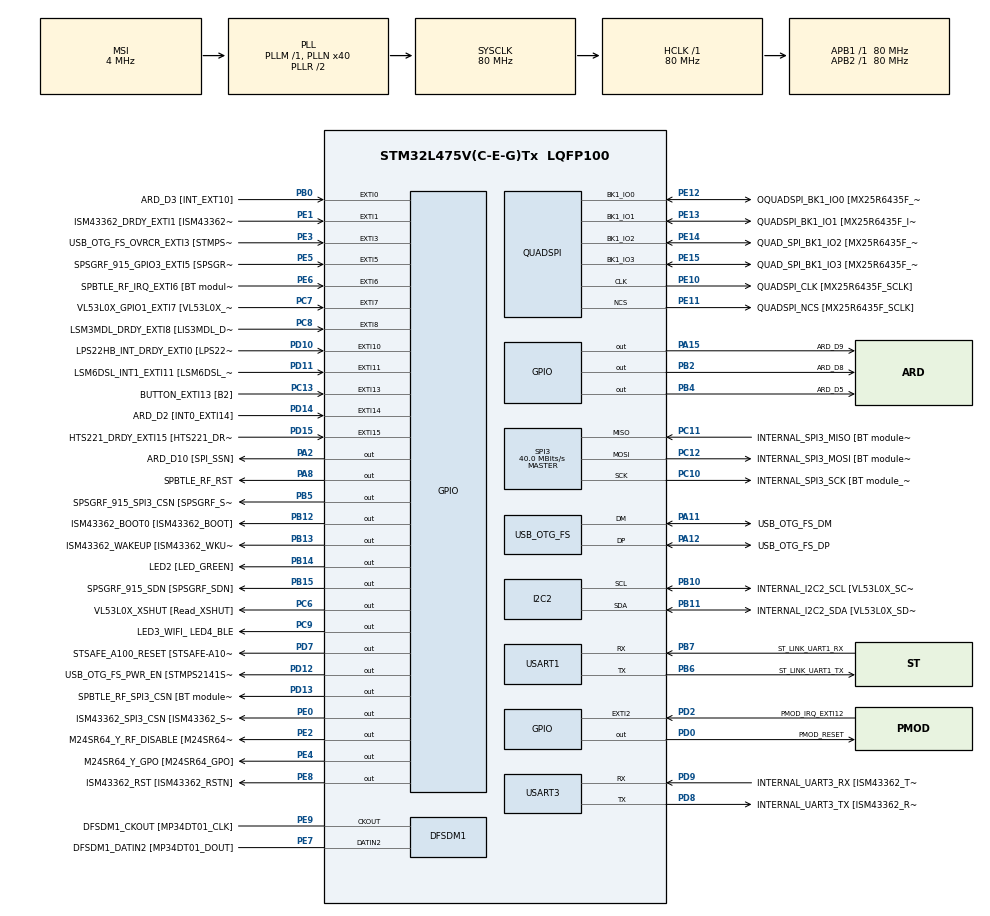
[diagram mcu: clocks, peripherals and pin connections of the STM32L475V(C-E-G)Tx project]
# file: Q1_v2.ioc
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I2C2.Timing=0x10909CEC
Mcu.Family=STM32L4
Mcu.Name=STM32L475V(C-E-G)Tx
Mcu.Package=LQFP100
NVIC.EXTI15_10_IRQn=true\:0\:0\:false\:false\:true\:true\:true
NVIC.EXTI9_5_IRQn=true\:0\:0\:false\:false\:true\:true\:true
NVIC.PriorityGroup=NVIC_PRIORITYGROUP_4
PA0.GPIO_Label=ARD_D1 [UART4_TX]
PA0.Signal=UART4_TX
PA1.GPIO_Label=ARD_D0 [UART4_RX]
PA1.Signal=UART4_RX
PA10.GPIO_Label=USB_OTG_FS_ID
PA10.Signal=USB_OTG_FS_ID
PA11.GPIO_Label=USB_OTG_FS_DM
PA11.Mode=Device_Only
PA11.Signal=USB_OTG_FS_DM
PA12.GPIO_Label=USB_OTG_FS_DP
PA12.Mode=Device_Only
PA12.Signal=USB_OTG_FS_DP
PA13\ (JTMS-SWDIO).GPIO_Label=SYS_JTMS_SWDIO
PA13\ (JTMS-SWDIO).Mode=Serial_Wire
PA13\ (JTMS-SWDIO).Signal=SYS_JTMS-SWDIO
PA14\ (JTCK-SWCLK).GPIO_Label=SYS_JTCK_SWCLK
PA14\ (JTCK-SWCLK).Mode=Serial_Wire
PA14\ (JTCK-SWCLK).Signal=SYS_JTCK-SWCLK
PA15\ (JTDI).GPIO_Label=ARD_D9
PA15\ (JTDI).Signal=GPIO_Output
PA2.GPIO_Label=ARD_D10 [SPI_SSN]
PA2.Signal=GPIO_Output
PA3.GPIO_Label=ARD_D4
PA3.Signal=S_TIM2_CH4
PA4.GPIO_Label=ARD_D7
PA4.Signal=ADCx_IN9
PA5.GPIO_Label=ARD_D13 [SPI1_SCK]
PA5.Signal=SPI1_SCK
PA6.GPIO_Label=ARD_D12 [SPI1_MISO]
PA6.Signal=SPI1_MISO
PA7.GPIO_Label=ARD_D11 [SPI1_MOSI]
PA7.Signal=SPI1_MOSI
PA8.GPIO_Label=SPBTLE_RF_RST
PA8.Signal=GPIO_Output
PA9.GPIO_Label=USB_OTG_FS_VBUS [STMPS2141STR_OUT]
PA9.Signal=USB_OTG_FS_VBUS
PB0.GPIO_Label=ARD_D3 [INT_EXT10]
PB0.Signal=GPXTI0
PB1.GPIO_Label=ARD_D6 [ADC1_IN6]
PB1.Signal=ADCx_IN16
PB10.GPIO_Label=INTERNAL_I2C2_SCL [VL53L0X_SCL]
PB10.Mode=I2C
PB10.Signal=I2C2_SCL
PB11.GPIO_Label=INTERNAL_I2C2_SDA [VL53L0X_SDA]
PB11.Mode=I2C
PB11.Signal=I2C2_SDA
PB12.GPIO_Label=ISM43362_BOOT0 [ISM43362_BOOT]
PB12.Signal=GPIO_Output
PB13.GPIO_Label=ISM43362_WAKEUP [ISM43362_WKUP]
PB13.Signal=GPIO_Output
PB14.GPIO_Label=LED2 [LED_GREEN]
PB14.Signal=GPIO_Output
PB15.GPIO_Label=SPSGRF_915_SDN [SPSGRF_SDN]
PB15.Signal=GPIO_Output
PB2.GPIO_Label=ARD_D8
PB2.Signal=GPIO_Output
PB3\ (JTDO-TRACESWO).GPIO_Label=SYS_JTD0_SWO
PB3\ (JTDO-TRACESWO).Signal=SYS_JTDO-SWO
PB4\ (NJTRST).GPIO_Label=ARD_D5
PB4\ (NJTRST).Signal=GPIO_Output
PB5.GPIO_Label=SPSGRF_915_SPI3_CSN [SPSGRF_SPI_CS]
PB5.PinState=GPIO_PIN_SET
PB5.Signal=GPIO_Output
PB6.GPIO_Label=ST_LINK_UART1_TX
PB6.Mode=Asynchronous
PB6.Signal=USART1_TX
PB7.GPIO_Label=ST_LINK_UART1_RX
PB7.Mode=Asynchronous
PB7.Signal=USART1_RX
PB8.GPIO_Label=ARD_D15 [I2C1_SCL]
PB8.Signal=I2C1_SCL
PB9.GPIO_Label=ARD_D14 [I2C1_SDA]
PB9.Signal=I2C1_SDA
PC0.GPIO_Label=ARD_A5 [ADC]
PC0.Signal=ADCx_IN1
PC1.GPIO_Label=ARD_A4 [ADC]
PC1.Signal=ADCx_IN2
PC10.GPIO_Label=INTERNAL_SPI3_SCK [BT module_SPI_SCLK] [ISM43362_SCK]
PC10.Mode=Full_Duplex_Master
PC10.Signal=SPI3_SCK
PC11.GPIO_Label=INTERNAL_SPI3_MISO [BT module_SPI_MISO] [ISM43362_MISO]
PC11.Mode=Full_Duplex_Master
PC11.Signal=SPI3_MISO
PC12.GPIO_Label=INTERNAL_SPI3_MOSI [BT module_SPI_MOSI] [ISM43362_MOSI]
PC12.Mode=Full_Duplex_Master
PC12.Signal=SPI3_MOSI
PC13.GPIO_Label=BUTTON_EXTI13 [B2]
PC13.GPIO_ModeDefaultEXTI=GPIO_MODE_IT_FALLING
PC13.Signal=GPXTI13
PC14-OSC32_IN\ (PC14).Mode=LSE-External-Oscillator
PC14-OSC32_IN\ (PC14).Signal=RCC_OSC32_IN
PC15-OSC32_OUT\ (PC15).Mode=LSE-External-Oscillator
PC15-OSC32_OUT\ (PC15).Signal=RCC_OSC32_OUT
PC2.GPIO_Label=ARD_A3 [ADC]
PC2.Signal=ADCx_IN3
PC3.GPIO_Label=ARD_A2 [ADC]
PC3.Signal=ADCx_IN4
PC4.GPIO_Label=ARD_A1 [ADC]
PC4.Signal=ADCx_IN13
PC5.GPIO_Label=ARD_A0 [ADC]
PC5.Signal=ADCx_IN14
PC6.GPIO_Label=VL53L0X_XSHUT [Read_XSHUT]
PC6.Signal=GPIO_Output
PC7.GPIO_Label=VL53L0X_GPIO1_EXTI7 [VL53L0X_GPIO1]
PC7.Signal=GPXTI7
PC8.GPIO_Label=LSM3MDL_DRDY_EXTI8 [LIS3MDL_DRDY]
PC8.Signal=GPXTI8
PC9.GPIO_Label=LED3_WIFI_ LED4_BLE
PC9.Signal=GPIO_Output
PD0.GPIO_Label=PMOD_RESET
PD0.Signal=GPIO_Output
PD1.GPIO_Label=PMOD_SPI2_SCK
PD1.Signal=SPI2_SCK
PD10.GPIO_Label=LPS22HB_INT_DRDY_EXTI0 [LPS22HB_INT_DRDY] 
PD10.Signal=GPXTI10
PD11.GPIO_Label=LSM6DSL_INT1_EXTI11 [LSM6DSL_INT1]
PD11.Signal=GPXTI11
PD12.GPIO_Label=USB_OTG_FS_PWR_EN [STMPS2141STR_EN]
PD12.Signal=GPIO_Output
PD13.GPIO_Label=SPBTLE_RF_SPI3_CSN [BT module_SPI_CS]
PD13.PinState=GPIO_PIN_SET
PD13.Signal=GPIO_Output
PD14.GPIO_Label=ARD_D2 [INT0_EXTI14]
PD14.Signal=GPXTI14
PD15.GPIO_Label=HTS221_DRDY_EXTI15 [HTS221_DRDY]
PD15.Signal=GPXTI15
PD2.GPIO_Label=PMOD_IRQ_EXTI12
PD2.Signal=GPXTI2
PD3.GPIO_Label=PMOD_UART2_CTS
PD3.Signal=USART2_CTS
PD4.GPIO_Label=PMOD_UART2_RTS
PD4.Signal=USART2_RTS
PD5.GPIO_Label=PMOD_UART2_TX
PD5.Signal=USART2_TX
PD6.GPIO_Label=PMOD_UART2_RX
PD6.Signal=USART2_RX
PD7.GPIO_Label=STSAFE_A100_RESET [STSAFE-A100_RESET]
PD7.Signal=GPIO_Output
PD8.GPIO_Label=INTERNAL_UART3_TX [ISM43362_RX]
PD8.Mode=Asynchronous
PD8.Signal=USART3_TX
PD9.GPIO_Label=INTERNAL_UART3_RX [ISM43362_TX]
PD9.Mode=Asynchronous
PD9.Signal=USART3_RX
PE0.GPIO_Label=ISM43362_SPI3_CSN [ISM43362_SSN]
PE0.PinState=GPIO_PIN_SET
PE0.Signal=GPIO_Output
PE1.GPIO_Label=ISM43362_DRDY_EXTI1 [ISM43362_DATARDY]
PE1.Signal=GPXTI1
PE10.GPIO_Label=QUADSPI_CLK [MX25R6435F_SCLK]
PE10.Mode=Single Bank
PE10.Signal=QUADSPI_CLK
PE11.GPIO_Label=QUADSPI_NCS [MX25R6435F_SCLK]
PE11.Mode=Single Bank
PE11.Signal=QUADSPI_NCS
PE12.GPIO_Label=OQUADSPI_BK1_IO0 [MX25R6435F_IO0]
PE12.Mode=Single Bank
PE12.Signal=QUADSPI_BK1_IO0
PE13.GPIO_Label=QUADSPI_BK1_IO1 [MX25R6435F_IO1]
PE13.Mode=Single Bank
PE13.Signal=QUADSPI_BK1_IO1
PE14.GPIO_Label=QUAD_SPI_BK1_IO2 [MX25R6435F_IO2]
PE14.Mode=Single Bank
PE14.Signal=QUADSPI_BK1_IO2
PE15.GPIO_Label=QUAD_SPI_BK1_IO3 [MX25R6435F_IO3]
PE15.Mode=Single Bank
PE15.Signal=QUADSPI_BK1_IO3
PE2.GPIO_Label=M24SR64_Y_RF_DISABLE [M24SR64_RFDIS]
PE2.Signal=GPIO_Output
PE3.GPIO_Label=USB_OTG_FS_OVRCR_EXTI3 [STMPS2141STR_FAULT]
PE3.Signal=GPXTI3
PE4.GPIO_Label=M24SR64_Y_GPO [M24SR64_GPO]
PE4.Signal=GPIO_Output
PE5.GPIO_Label=SPSGRF_915_GPIO3_EXTI5 [SPSGRF_GPIO_3]
PE5.Signal=GPXTI5
PE6.GPIO_Label=SPBTLE_RF_IRQ_EXTI6 [BT module_SPI_IRQ]
PE6.Signal=GPXTI6
PE7.GPIO_Label=DFSDM1_DATIN2 [MP34DT01_DOUT]
PE7.Signal=S_DATAIN2DFSDM1
PE8.GPIO_Label=ISM43362_RST [ISM43362_RSTN]
PE8.Signal=GPIO_Output
PE9.GPIO_Label=DFSDM1_CKOUT [MP34DT01_CLK]
PE9.Signal=S_CKOUTDFSDM1
ProjectManager.HeapSize=0x200
ProjectManager.StackSize=0x400
ProjectManager.TargetToolchain=STM32CubeIDE
RCC.ADCFreq_Value=48000000
RCC.AHBFreq_Value=80000000
RCC.APB1Freq_Value=80000000
RCC.APB1TimFreq_Value=80000000
RCC.APB2Freq_Value=80000000
RCC.APB2TimFreq_Value=80000000
RCC.CortexFreq_Value=80000000
RCC.HCLKFreq_Value=80000000
RCC.HSE_VALUE=8000000
RCC.HSI_VALUE=16000000
RCC.MSI_VALUE=4000000
RCC.PLLN=40
RCC.PLLSAI1N=24
RCC.SYSCLKFreq_VALUE=80000000
RCC.SYSCLKSource=RCC_SYSCLKSOURCE_PLLCLK
RCC.USBFreq_Value=48000000
RCC.VCOOutputFreq_Value=160000000
SH.ADCx_IN1.0=ADC1_IN1
SH.ADCx_IN13.0=ADC1_IN13
SH.ADCx_IN14.0=ADC1_IN14
SH.ADCx_IN16.0=ADC1_IN16
SH.ADCx_IN2.0=ADC1_IN2
SH.ADCx_IN3.0=ADC1_IN3
SH.ADCx_IN4.0=ADC1_IN4
SH.ADCx_IN9.0=ADC1_IN9
SH.S_CKOUTDFSDM1.0=DFSDM1_CKOUT,CKOUT
SH.S_CKOUTDFSDM1.1=DFSDM1_CKOUT,PDM_SPI_Input_from_ch12_and_Internal_Clock
SH.S_DATAIN2DFSDM1.0=DFSDM1_DATIN2,PDM_SPI_Input_from_ch12_and_Internal_Clock
SH.S_TIM2_CH4.0=TIM2_CH4
SPI3.CalculateBaudRate=40.0 MBits/s
SPI3.Direction=SPI_DIRECTION_2LINES
SPI3.Mode=SPI_MODE_MASTER
SPI3.VirtualType=VM_MASTER
USART1.VirtualMode-Asynchronous=VM_ASYNC
USART3.VirtualMode-Asynchronous=VM_ASYNC
USB_OTG_FS.VirtualMode=Device_Only
board=B-L475E-IOT01A1

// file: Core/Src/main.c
/* USER CODE BEGIN Header */
/**
 *********************************************************************************
 *	Author: Jonathan Dean
 *	Project: Quiz 1 - ToF Sensor
 *
 *	Objective: Read the ToF sensor and display it through UART1.
 *
 *********************************************************************************
	******************************************************************************
	* @file					 	: main.c
	* @brief					: Main program body
	******************************************************************************
	* @attention
	*
	* <h2><center>&copy; Copyright (c) 2020 STMicroelectronics.
	* All rights reserved.</center></h2>
	*
	* This software component is licensed by ST under BSD 3-Clause license,
	* the "License"; You may not use this file except in compliance with the
	* License. You may obtain a copy of the License at:
	*												opensource.org/licenses/BSD-3-Clause
	*
	******************************************************************************
	*/
/* USER CODE END Header */
#include "main.h"

/* USER CODE BEGIN Includes */
#include "vl53l0x_api.h"
#include "vl53l0x_platform.h"
#include "TOF.h"
#include "Time.h"
/* USER CODE END Includes */

DFSDM_Channel_HandleTypeDef hdfsdm1_channel1;

I2C_HandleTypeDef hi2c2;

QSPI_HandleTypeDef hqspi;

SPI_HandleTypeDef hspi3;

UART_HandleTypeDef huart1;
UART_HandleTypeDef huart3;

PCD_HandleTypeDef hpcd_USB_OTG_FS;

void SystemClock_Config(void);
static void MX_GPIO_Init(void);
static void MX_DFSDM1_Init(void);
static void MX_I2C2_Init(void);
static void MX_QUADSPI_Init(void);
static void MX_SPI3_Init(void);
static void MX_USART1_UART_Init(void);
static void MX_USART3_UART_Init(void);
static void MX_USB_OTG_FS_PCD_Init(void);

int main(void)
{

	/* MCU Configuration--------------------------------------------------------*/

	/* Reset of all peripherals, Initializes the Flash interface and the Systick. */
	HAL_Init();

	/* Configure the system clock */
	SystemClock_Config();

	/* Initialize all configured peripherals */
	MX_GPIO_Init();
	MX_DFSDM1_Init();
	MX_I2C2_Init();
	MX_QUADSPI_Init();
	MX_SPI3_Init();
	MX_USART1_UART_Init();
	MX_USART3_UART_Init();
	MX_USB_OTG_FS_PCD_Init();

	/* Infinite loop */
	/* USER CODE BEGIN WHILE */

	VL53L0X_Dev_t tof_device = // Initialize tof structure with I2C Handle and Device Location
	{
		.I2cHandle = &hi2c2,
		.I2cDevAddr = 0x52
	};

	TOF_Init(tof_device); // initialize the TOF

	Tick tof_timer = GetTime_ms(); // initialize loop timer

	while(1)
	{
		if (GetTimeSince_ms(tof_timer)>MS(1000))
		{
			char buff[2048]; // initialize buffer/size counter for uart
			uint16_t buff_sz = 0;
			uint16_t distance = TOF_GetReading(); // get TOF datapoint
			buff_sz += sprintf(buff, "Val: %d mm\n", distance); // write data to a string
			HAL_UART_Transmit(&huart1, (uint8_t*)buff, buff_sz, 1000); // print data
			tof_timer = GetTime_ms(); // reset loop timer
		}
		/* USER CODE END WHILE */

	}
}

void SystemClock_Config(void)
{
	RCC_OscInitTypeDef RCC_OscInitStruct = {0};
	RCC_ClkInitTypeDef RCC_ClkInitStruct = {0};
	RCC_PeriphCLKInitTypeDef PeriphClkInit = {0};

	/** Configure LSE Drive Capability
	*/
	HAL_PWR_EnableBkUpAccess();
	__HAL_RCC_LSEDRIVE_CONFIG(RCC_LSEDRIVE_LOW);
	/** Initializes the RCC Oscillators according to the specified parameters
	* in the RCC_OscInitTypeDef structure.
	*/
	RCC_OscInitStruct.OscillatorType = RCC_OSCILLATORTYPE_LSE|RCC_OSCILLATORTYPE_MSI;
	RCC_OscInitStruct.LSEState = RCC_LSE_ON;
	RCC_OscInitStruct.MSIState = RCC_MSI_ON;
	RCC_OscInitStruct.MSICalibrationValue = 0;
	RCC_OscInitStruct.MSIClockRange = RCC_MSIRANGE_6;
	RCC_OscInitStruct.PLL.PLLState = RCC_PLL_ON;
	RCC_OscInitStruct.PLL.PLLSource = RCC_PLLSOURCE_MSI;
	RCC_OscInitStruct.PLL.PLLM = 1;
	RCC_OscInitStruct.PLL.PLLN = 40;
	RCC_OscInitStruct.PLL.PLLP = RCC_PLLP_DIV7;
	RCC_OscInitStruct.PLL.PLLQ = RCC_PLLQ_DIV2;
	RCC_OscInitStruct.PLL.PLLR = RCC_PLLR_DIV2;
	if (HAL_RCC_OscConfig(&RCC_OscInitStruct) != HAL_OK)
	{
		Error_Handler();
	}
	/** Initializes the CPU, AHB and APB buses clocks
	*/
	RCC_ClkInitStruct.ClockType = RCC_CLOCKTYPE_HCLK|RCC_CLOCKTYPE_SYSCLK
															|RCC_CLOCKTYPE_PCLK1|RCC_CLOCKTYPE_PCLK2;
	RCC_ClkInitStruct.SYSCLKSource = RCC_SYSCLKSOURCE_PLLCLK;
	RCC_ClkInitStruct.AHBCLKDivider = RCC_SYSCLK_DIV1;
	RCC_ClkInitStruct.APB1CLKDivider = RCC_HCLK_DIV1;
	RCC_ClkInitStruct.APB2CLKDivider = RCC_HCLK_DIV1;

	if (HAL_RCC_ClockConfig(&RCC_ClkInitStruct, FLASH_LATENCY_4) != HAL_OK)
	{
		Error_Handler();
	}
	PeriphClkInit.PeriphClockSelection = RCC_PERIPHCLK_USART1|RCC_PERIPHCLK_USART3
															|RCC_PERIPHCLK_I2C2|RCC_PERIPHCLK_DFSDM1
															|RCC_PERIPHCLK_USB;
	PeriphClkInit.Usart1ClockSelection = RCC_USART1CLKSOURCE_PCLK2;
	PeriphClkInit.Usart3ClockSelection = RCC_USART3CLKSOURCE_PCLK1;
	PeriphClkInit.I2c2ClockSelection = RCC_I2C2CLKSOURCE_PCLK1;
	PeriphClkInit.Dfsdm1ClockSelection = RCC_DFSDM1CLKSOURCE_PCLK;
	PeriphClkInit.UsbClockSelection = RCC_USBCLKSOURCE_PLLSAI1;
	PeriphClkInit.PLLSAI1.PLLSAI1Source = RCC_PLLSOURCE_MSI;
	PeriphClkInit.PLLSAI1.PLLSAI1M = 1;
	PeriphClkInit.PLLSAI1.PLLSAI1N = 24;
	PeriphClkInit.PLLSAI1.PLLSAI1P = RCC_PLLP_DIV7;
	PeriphClkInit.PLLSAI1.PLLSAI1Q = RCC_PLLQ_DIV2;
	PeriphClkInit.PLLSAI1.PLLSAI1R = RCC_PLLR_DIV2;
	PeriphClkInit.PLLSAI1.PLLSAI1ClockOut = RCC_PLLSAI1_48M2CLK;
	if (HAL_RCCEx_PeriphCLKConfig(&PeriphClkInit) != HAL_OK)
	{
		Error_Handler();
	}
	/** Configure the main internal regulator output voltage
	*/
	if (HAL_PWREx_ControlVoltageScaling(PWR_REGULATOR_VOLTAGE_SCALE1) != HAL_OK)
	{
		Error_Handler();
	}
	/** Enable MSI Auto calibration
	*/
	HAL_RCCEx_EnableMSIPLLMode();
}

static void MX_DFSDM1_Init(void)
{

	hdfsdm1_channel1.Instance = DFSDM1_Channel1;
	hdfsdm1_channel1.Init.OutputClock.Activation = ENABLE;
	hdfsdm1_channel1.Init.OutputClock.Selection = DFSDM_CHANNEL_OUTPUT_CLOCK_SYSTEM;
	hdfsdm1_channel1.Init.OutputClock.Divider = 2;
	hdfsdm1_channel1.Init.Input.Multiplexer = DFSDM_CHANNEL_EXTERNAL_INPUTS;
	hdfsdm1_channel1.Init.Input.DataPacking = DFSDM_CHANNEL_STANDARD_MODE;
	hdfsdm1_channel1.Init.Input.Pins = DFSDM_CHANNEL_FOLLOWING_CHANNEL_PINS;
	hdfsdm1_channel1.Init.SerialInterface.Type = DFSDM_CHANNEL_SPI_RISING;
	hdfsdm1_channel1.Init.SerialInterface.SpiClock = DFSDM_CHANNEL_SPI_CLOCK_INTERNAL;
	hdfsdm1_channel1.Init.Awd.FilterOrder = DFSDM_CHANNEL_FASTSINC_ORDER;
	hdfsdm1_channel1.Init.Awd.Oversampling = 1;
	hdfsdm1_channel1.Init.Offset = 0;
	hdfsdm1_channel1.Init.RightBitShift = 0x00;
	if (HAL_DFSDM_ChannelInit(&hdfsdm1_channel1) != HAL_OK)
	{
		Error_Handler();
	}

}

static void MX_I2C2_Init(void)
{

	hi2c2.Instance = I2C2;
	hi2c2.Init.Timing = 0x10909CEC;
	hi2c2.Init.OwnAddress1 = 0;
	hi2c2.Init.AddressingMode = I2C_ADDRESSINGMODE_7BIT;
	hi2c2.Init.DualAddressMode = I2C_DUALADDRESS_DISABLE;
	hi2c2.Init.OwnAddress2 = 0;
	hi2c2.Init.OwnAddress2Masks = I2C_OA2_NOMASK;
	hi2c2.Init.GeneralCallMode = I2C_GENERALCALL_DISABLE;
	hi2c2.Init.NoStretchMode = I2C_NOSTRETCH_DISABLE;
	if (HAL_I2C_Init(&hi2c2) != HAL_OK)
	{
		Error_Handler();
	}
	/** Configure Analogue filter
	*/
	if (HAL_I2CEx_ConfigAnalogFilter(&hi2c2, I2C_ANALOGFILTER_ENABLE) != HAL_OK)
	{
		Error_Handler();
	}
	/** Configure Digital filter
	*/
	if (HAL_I2CEx_ConfigDigitalFilter(&hi2c2, 0) != HAL_OK)
	{
		Error_Handler();
	}

}

static void MX_QUADSPI_Init(void)
{

	/* QUADSPI parameter configuration*/
	hqspi.Instance = QUADSPI;
	hqspi.Init.ClockPrescaler = 255;
	hqspi.Init.FifoThreshold = 1;
	hqspi.Init.SampleShifting = QSPI_SAMPLE_SHIFTING_NONE;
	hqspi.Init.FlashSize = 1;
	hqspi.Init.ChipSelectHighTime = QSPI_CS_HIGH_TIME_1_CYCLE;
	hqspi.Init.ClockMode = QSPI_CLOCK_MODE_0;
	if (HAL_QSPI_Init(&hqspi) != HAL_OK)
	{
		Error_Handler();
	}

}

static void MX_SPI3_Init(void)
{

	/* SPI3 parameter configuration*/
	hspi3.Instance = SPI3;
	hspi3.Init.Mode = SPI_MODE_MASTER;
	hspi3.Init.Direction = SPI_DIRECTION_2LINES;
	hspi3.Init.DataSize = SPI_DATASIZE_4BIT;
	hspi3.Init.CLKPolarity = SPI_POLARITY_LOW;
	hspi3.Init.CLKPhase = SPI_PHASE_1EDGE;
	hspi3.Init.NSS = SPI_NSS_SOFT;
	hspi3.Init.BaudRatePrescaler = SPI_BAUDRATEPRESCALER_2;
	hspi3.Init.FirstBit = SPI_FIRSTBIT_MSB;
	hspi3.Init.TIMode = SPI_TIMODE_DISABLE;
	hspi3.Init.CRCCalculation = SPI_CRCCALCULATION_DISABLE;
	hspi3.Init.CRCPolynomial = 7;
	hspi3.Init.CRCLength = SPI_CRC_LENGTH_DATASIZE;
	hspi3.Init.NSSPMode = SPI_NSS_PULSE_ENABLE;
	if (HAL_SPI_Init(&hspi3) != HAL_OK)
	{
		Error_Handler();
	}

}

static void MX_USART1_UART_Init(void)
{

	huart1.Instance = USART1;
	huart1.Init.BaudRate = 115200;
	huart1.Init.WordLength = UART_WORDLENGTH_8B;
	huart1.Init.StopBits = UART_STOPBITS_1;
	huart1.Init.Parity = UART_PARITY_NONE;
	huart1.Init.Mode = UART_MODE_TX_RX;
	huart1.Init.HwFlowCtl = UART_HWCONTROL_NONE;
	huart1.Init.OverSampling = UART_OVERSAMPLING_16;
	huart1.Init.OneBitSampling = UART_ONE_BIT_SAMPLE_DISABLE;
	huart1.AdvancedInit.AdvFeatureInit = UART_ADVFEATURE_NO_INIT;
	if (HAL_UART_Init(&huart1) != HAL_OK)
	{
		Error_Handler();
	}

}

static void MX_USART3_UART_Init(void)
{

	huart3.Instance = USART3;
	huart3.Init.BaudRate = 115200;
	huart3.Init.WordLength = UART_WORDLENGTH_8B;
	huart3.Init.StopBits = UART_STOPBITS_1;
	huart3.Init.Parity = UART_PARITY_NONE;
	huart3.Init.Mode = UART_MODE_TX_RX;
	huart3.Init.HwFlowCtl = UART_HWCONTROL_NONE;
	huart3.Init.OverSampling = UART_OVERSAMPLING_16;
	huart3.Init.OneBitSampling = UART_ONE_BIT_SAMPLE_DISABLE;
	huart3.AdvancedInit.AdvFeatureInit = UART_ADVFEATURE_NO_INIT;
	if (HAL_UART_Init(&huart3) != HAL_OK)
	{
		Error_Handler();
	}

}

static void MX_USB_OTG_FS_PCD_Init(void)
{

	hpcd_USB_OTG_FS.Instance = USB_OTG_FS;
	hpcd_USB_OTG_FS.Init.dev_endpoints = 6;
	hpcd_USB_OTG_FS.Init.speed = PCD_SPEED_FULL;
	hpcd_USB_OTG_FS.Init.phy_itface = PCD_PHY_EMBEDDED;
	hpcd_USB_OTG_FS.Init.Sof_enable = DISABLE;
	hpcd_USB_OTG_FS.Init.low_power_enable = DISABLE;
	hpcd_USB_OTG_FS.Init.lpm_enable = DISABLE;
	hpcd_USB_OTG_FS.Init.battery_charging_enable = DISABLE;
	hpcd_USB_OTG_FS.Init.use_dedicated_ep1 = DISABLE;
	hpcd_USB_OTG_FS.Init.vbus_sensing_enable = DISABLE;
	if (HAL_PCD_Init(&hpcd_USB_OTG_FS) != HAL_OK)
	{
		Error_Handler();
	}

}

static void MX_GPIO_Init(void)
{
	GPIO_InitTypeDef GPIO_InitStruct = {0};

	/* GPIO Ports Clock Enable */
	__HAL_RCC_GPIOE_CLK_ENABLE();
	__HAL_RCC_GPIOC_CLK_ENABLE();
	__HAL_RCC_GPIOA_CLK_ENABLE();
	__HAL_RCC_GPIOB_CLK_ENABLE();
	__HAL_RCC_GPIOD_CLK_ENABLE();

	/*Configure GPIO pin Output Level */
	HAL_GPIO_WritePin(GPIOE, M24SR64_Y_RF_DISABLE_Pin|M24SR64_Y_GPO_Pin|ISM43362_RST_Pin, GPIO_PIN_RESET);

	/*Configure GPIO pin Output Level */
	HAL_GPIO_WritePin(GPIOA, ARD_D10_Pin|SPBTLE_RF_RST_Pin|ARD_D9_Pin, GPIO_PIN_RESET);

	/*Configure GPIO pin Output Level */
	HAL_GPIO_WritePin(GPIOB, ARD_D8_Pin|ISM43362_BOOT0_Pin|ISM43362_WAKEUP_Pin|LED2_Pin
													|SPSGRF_915_SDN_Pin|ARD_D5_Pin, GPIO_PIN_RESET);

	/*Configure GPIO pin Output Level */
	HAL_GPIO_WritePin(GPIOD, USB_OTG_FS_PWR_EN_Pin|PMOD_RESET_Pin|STSAFE_A100_RESET_Pin, GPIO_PIN_RESET);

	/*Configure GPIO pin Output Level */
	HAL_GPIO_WritePin(SPBTLE_RF_SPI3_CSN_GPIO_Port, SPBTLE_RF_SPI3_CSN_Pin, GPIO_PIN_SET);

	/*Configure GPIO pin Output Level */
	HAL_GPIO_WritePin(GPIOC, VL53L0X_XSHUT_Pin|LED3_WIFI__LED4_BLE_Pin, GPIO_PIN_RESET);

	/*Configure GPIO pin Output Level */
	HAL_GPIO_WritePin(SPSGRF_915_SPI3_CSN_GPIO_Port, SPSGRF_915_SPI3_CSN_Pin, GPIO_PIN_SET);

	/*Configure GPIO pin Output Level */
	HAL_GPIO_WritePin(ISM43362_SPI3_CSN_GPIO_Port, ISM43362_SPI3_CSN_Pin, GPIO_PIN_SET);

	/*Configure GPIO pins : M24SR64_Y_RF_DISABLE_Pin M24SR64_Y_GPO_Pin ISM43362_RST_Pin ISM43362_SPI3_CSN_Pin */
	GPIO_InitStruct.Pin = M24SR64_Y_RF_DISABLE_Pin|M24SR64_Y_GPO_Pin|ISM43362_RST_Pin|ISM43362_SPI3_CSN_Pin;
	GPIO_InitStruct.Mode = GPIO_MODE_OUTPUT_PP;
	GPIO_InitStruct.Pull = GPIO_NOPULL;
	GPIO_InitStruct.Speed = GPIO_SPEED_FREQ_LOW;
	HAL_GPIO_Init(GPIOE, &GPIO_InitStruct);

	/*Configure GPIO pins : USB_OTG_FS_OVRCR_EXTI3_Pin SPSGRF_915_GPIO3_EXTI5_Pin SPBTLE_RF_IRQ_EXTI6_Pin ISM43362_DRDY_EXTI1_Pin */
	GPIO_InitStruct.Pin = USB_OTG_FS_OVRCR_EXTI3_Pin|SPSGRF_915_GPIO3_EXTI5_Pin|SPBTLE_RF_IRQ_EXTI6_Pin|ISM43362_DRDY_EXTI1_Pin;
	GPIO_InitStruct.Mode = GPIO_MODE_IT_RISING;
	GPIO_InitStruct.Pull = GPIO_NOPULL;
	HAL_GPIO_Init(GPIOE, &GPIO_InitStruct);

	/*Configure GPIO pin : BUTTON_EXTI13_Pin */
	GPIO_InitStruct.Pin = BUTTON_EXTI13_Pin;
	GPIO_InitStruct.Mode = GPIO_MODE_IT_FALLING;
	GPIO_InitStruct.Pull = GPIO_NOPULL;
	HAL_GPIO_Init(BUTTON_EXTI13_GPIO_Port, &GPIO_InitStruct);

	/*Configure GPIO pins : ARD_A5_Pin ARD_A4_Pin ARD_A3_Pin ARD_A2_Pin
													 ARD_A1_Pin ARD_A0_Pin */
	GPIO_InitStruct.Pin = ARD_A5_Pin|ARD_A4_Pin|ARD_A3_Pin|ARD_A2_Pin
													|ARD_A1_Pin|ARD_A0_Pin;
	GPIO_InitStruct.Mode = GPIO_MODE_ANALOG_ADC_CONTROL;
	GPIO_InitStruct.Pull = GPIO_NOPULL;
	HAL_GPIO_Init(GPIOC, &GPIO_InitStruct);

	/*Configure GPIO pins : ARD_D1_Pin ARD_D0_Pin */
	GPIO_InitStruct.Pin = ARD_D1_Pin|ARD_D0_Pin;
	GPIO_InitStruct.Mode = GPIO_MODE_AF_PP;
	GPIO_InitStruct.Pull = GPIO_NOPULL;
	GPIO_InitStruct.Speed = GPIO_SPEED_FREQ_VERY_HIGH;
	GPIO_InitStruct.Alternate = GPIO_AF8_UART4;
	HAL_GPIO_Init(GPIOA, &GPIO_InitStruct);

	/*Configure GPIO pins : ARD_D10_Pin SPBTLE_RF_RST_Pin ARD_D9_Pin */
	GPIO_InitStruct.Pin = ARD_D10_Pin|SPBTLE_RF_RST_Pin|ARD_D9_Pin;
	GPIO_InitStruct.Mode = GPIO_MODE_OUTPUT_PP;
	GPIO_InitStruct.Pull = GPIO_NOPULL;
	GPIO_InitStruct.Speed = GPIO_SPEED_FREQ_LOW;
	HAL_GPIO_Init(GPIOA, &GPIO_InitStruct);

	/*Configure GPIO pin : ARD_D4_Pin */
	GPIO_InitStruct.Pin = ARD_D4_Pin;
	GPIO_InitStruct.Mode = GPIO_MODE_AF_PP;
	GPIO_InitStruct.Pull = GPIO_NOPULL;
	GPIO_InitStruct.Speed = GPIO_SPEED_FREQ_LOW;
	GPIO_InitStruct.Alternate = GPIO_AF1_TIM2;
	HAL_GPIO_Init(ARD_D4_GPIO_Port, &GPIO_InitStruct);

	/*Configure GPIO pin : ARD_D7_Pin */
	GPIO_InitStruct.Pin = ARD_D7_Pin;
	GPIO_InitStruct.Mode = GPIO_MODE_ANALOG_ADC_CONTROL;
	GPIO_InitStruct.Pull = GPIO_NOPULL;
	HAL_GPIO_Init(ARD_D7_GPIO_Port, &GPIO_InitStruct);

	/*Configure GPIO pins : ARD_D13_Pin ARD_D12_Pin ARD_D11_Pin */
	GPIO_InitStruct.Pin = ARD_D13_Pin|ARD_D12_Pin|ARD_D11_Pin;
	GPIO_InitStruct.Mode = GPIO_MODE_AF_PP;
	GPIO_InitStruct.Pull = GPIO_NOPULL;
	GPIO_InitStruct.Speed = GPIO_SPEED_FREQ_VERY_HIGH;
	GPIO_InitStruct.Alternate = GPIO_AF5_SPI1;
	HAL_GPIO_Init(GPIOA, &GPIO_InitStruct);

	/*Configure GPIO pin : ARD_D3_Pin */
	GPIO_InitStruct.Pin = ARD_D3_Pin;
	GPIO_InitStruct.Mode = GPIO_MODE_IT_RISING;
	GPIO_InitStruct.Pull = GPIO_NOPULL;
	HAL_GPIO_Init(ARD_D3_GPIO_Port, &GPIO_InitStruct);

	/*Configure GPIO pin : ARD_D6_Pin */
	GPIO_InitStruct.Pin = ARD_D6_Pin;
	GPIO_InitStruct.Mode = GPIO_MODE_ANALOG_ADC_CONTROL;
	GPIO_InitStruct.Pull = GPIO_NOPULL;
	HAL_GPIO_Init(ARD_D6_GPIO_Port, &GPIO_InitStruct);

	/*Configure GPIO pins : ARD_D8_Pin ISM43362_BOOT0_Pin ISM43362_WAKEUP_Pin LED2_Pin
													 SPSGRF_915_SDN_Pin ARD_D5_Pin SPSGRF_915_SPI3_CSN_Pin */
	GPIO_InitStruct.Pin = ARD_D8_Pin|ISM43362_BOOT0_Pin|ISM43362_WAKEUP_Pin|LED2_Pin
													|SPSGRF_915_SDN_Pin|ARD_D5_Pin|SPSGRF_915_SPI3_CSN_Pin;
	GPIO_InitStruct.Mode = GPIO_MODE_OUTPUT_PP;
	GPIO_InitStruct.Pull = GPIO_NOPULL;
	GPIO_InitStruct.Speed = GPIO_SPEED_FREQ_LOW;
	HAL_GPIO_Init(GPIOB, &GPIO_InitStruct);

	/*Configure GPIO pins : LPS22HB_INT_DRDY_EXTI0_Pin LSM6DSL_INT1_EXTI11_Pin ARD_D2_Pin HTS221_DRDY_EXTI15_Pin
													 PMOD_IRQ_EXTI12_Pin */
	GPIO_InitStruct.Pin = LPS22HB_INT_DRDY_EXTI0_Pin|LSM6DSL_INT1_EXTI11_Pin|ARD_D2_Pin|HTS221_DRDY_EXTI15_Pin
													|PMOD_IRQ_EXTI12_Pin;
	GPIO_InitStruct.Mode = GPIO_MODE_IT_RISING;
	GPIO_InitStruct.Pull = GPIO_NOPULL;
	HAL_GPIO_Init(GPIOD, &GPIO_InitStruct);

	/*Configure GPIO pins : USB_OTG_FS_PWR_EN_Pin SPBTLE_RF_SPI3_CSN_Pin PMOD_RESET_Pin STSAFE_A100_RESET_Pin */
	GPIO_InitStruct.Pin = USB_OTG_FS_PWR_EN_Pin|SPBTLE_RF_SPI3_CSN_Pin|PMOD_RESET_Pin|STSAFE_A100_RESET_Pin;
	GPIO_InitStruct.Mode = GPIO_MODE_OUTPUT_PP;
	GPIO_InitStruct.Pull = GPIO_NOPULL;
	GPIO_InitStruct.Speed = GPIO_SPEED_FREQ_LOW;
	HAL_GPIO_Init(GPIOD, &GPIO_InitStruct);

	/*Configure GPIO pins : TOF_XSHUT_PIN LED3_WIFI__LED4_BLE_Pin */
	GPIO_InitStruct.Pin = VL53L0X_XSHUT_Pin|LED3_WIFI__LED4_BLE_Pin;
	GPIO_InitStruct.Mode = GPIO_MODE_OUTPUT_PP;
	GPIO_InitStruct.Pull = GPIO_NOPULL;
	GPIO_InitStruct.Speed = GPIO_SPEED_FREQ_LOW;
	HAL_GPIO_Init(GPIOC, &GPIO_InitStruct);

	/*Configure GPIO pins : VL53L0X_GPIO1_EXTI7_Pin LSM3MDL_DRDY_EXTI8_Pin */
	GPIO_InitStruct.Pin = VL53L0X_GPIO1_EXTI7_Pin|LSM3MDL_DRDY_EXTI8_Pin;
	GPIO_InitStruct.Mode = GPIO_MODE_IT_RISING;
	GPIO_InitStruct.Pull = GPIO_NOPULL;
	HAL_GPIO_Init(GPIOC, &GPIO_InitStruct);

	/*Configure GPIO pin : PMOD_SPI2_SCK_Pin */
	GPIO_InitStruct.Pin = PMOD_SPI2_SCK_Pin;
	GPIO_InitStruct.Mode = GPIO_MODE_AF_PP;
	GPIO_InitStruct.Pull = GPIO_NOPULL;
	GPIO_InitStruct.Speed = GPIO_SPEED_FREQ_VERY_HIGH;
	GPIO_InitStruct.Alternate = GPIO_AF5_SPI2;
	HAL_GPIO_Init(PMOD_SPI2_SCK_GPIO_Port, &GPIO_InitStruct);

	/*Configure GPIO pins : PMOD_UART2_CTS_Pin PMOD_UART2_RTS_Pin PMOD_UART2_TX_Pin PMOD_UART2_RX_Pin */
	GPIO_InitStruct.Pin = PMOD_UART2_CTS_Pin|PMOD_UART2_RTS_Pin|PMOD_UART2_TX_Pin|PMOD_UART2_RX_Pin;
	GPIO_InitStruct.Mode = GPIO_MODE_AF_PP;
	GPIO_InitStruct.Pull = GPIO_NOPULL;
	GPIO_InitStruct.Speed = GPIO_SPEED_FREQ_VERY_HIGH;
	GPIO_InitStruct.Alternate = GPIO_AF7_USART2;
	HAL_GPIO_Init(GPIOD, &GPIO_InitStruct);

	/*Configure GPIO pins : ARD_D15_Pin ARD_D14_Pin */
	GPIO_InitStruct.Pin = ARD_D15_Pin|ARD_D14_Pin;
	GPIO_InitStruct.Mode = GPIO_MODE_AF_OD;
	GPIO_InitStruct.Pull = GPIO_PULLUP;
	GPIO_InitStruct.Speed = GPIO_SPEED_FREQ_VERY_HIGH;
	GPIO_InitStruct.Alternate = GPIO_AF4_I2C1;
	HAL_GPIO_Init(GPIOB, &GPIO_InitStruct);

	/* EXTI interrupt init*/
	HAL_NVIC_SetPriority(EXTI9_5_IRQn, 0, 0);
	HAL_NVIC_EnableIRQ(EXTI9_5_IRQn);

	HAL_NVIC_SetPriority(EXTI15_10_IRQn, 0, 0);
	HAL_NVIC_EnableIRQ(EXTI15_10_IRQn);

}

void Error_Handler(void)
{
}

/************************ (C) COPYRIGHT STMicroelectronics *****END OF FILE****/
